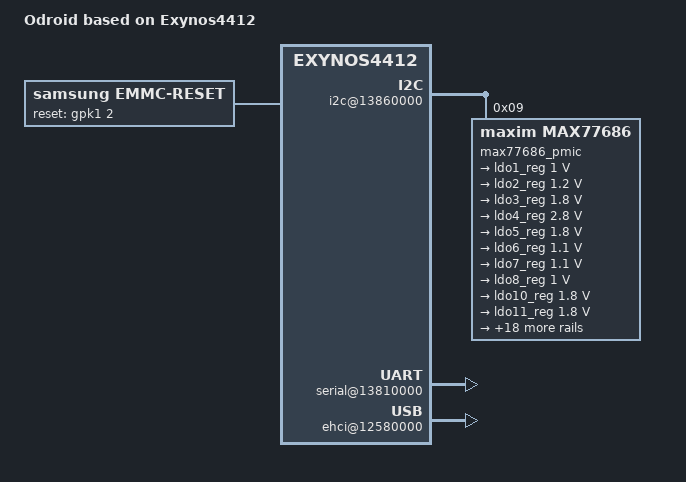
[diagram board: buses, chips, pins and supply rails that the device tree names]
/*
 * Odroid-U3/X2 board device tree source
 *
 * Copyright (c) 2014 Samsung Electronics Co., Ltd.
 *		http://www.samsung.com
 *
 * SPDX-License-Identifier:	GPL-2.0+
 */

/dts-v1/;
#include "exynos4412.dtsi"

/ {
	model = "Odroid based on Exynos4412";
	compatible = "samsung,odroid", "samsung,exynos4412";

	aliases {
		i2c0 = "/i2c@13860000";
		i2c1 = "/i2c@13870000";
		i2c2 = "/i2c@13880000";
		i2c3 = "/i2c@13890000";
		i2c4 = "/i2c@138a0000";
		i2c5 = "/i2c@138b0000";
		i2c6 = "/i2c@138c0000";
		i2c7 = "/i2c@138d0000";
		serial0 = "/serial@13800000";
		console = "/serial@13810000";
		mmc2 = "sdhci@12530000";
		mmc4 = "dwmmc@12550000";
	};

	i2c@13860000 {
		samsung,i2c-sda-delay = <100>;
		samsung,i2c-slave-addr = <0x10>;
		samsung,i2c-max-bus-freq = <100000>;
		status = "okay";

		max77686_pmic@09 {
			compatible = "maxim,max77686";
			interrupts = <7 0>;
			reg = <0x09 0 0>;
			#clock-cells = <1>;

			voltage-regulators {
				ldo1_reg: ldo1 {
					regulator-name = "VDD_ALIVE_1.0V";
					regulator-min-microvolt = <1000000>;
					regulator-max-microvolt = <1000000>;
				};

				ldo2_reg: ldo2 {
					regulator-name = "VDDQ_VM1M2_1.2V";
					regulator-min-microvolt = <1200000>;
					regulator-max-microvolt = <1200000>;
				};

				ldo3_reg: ldo3 {
					regulator-name = "VCC_1.8V_AP";
					regulator-min-microvolt = <1800000>;
					regulator-max-microvolt = <1800000>;
				};

				ldo4_reg: ldo4 {
					regulator-name = "VDDQ_MMC2_2.8V";
					regulator-min-microvolt = <2800000>;
					regulator-max-microvolt = <2800000>;
				};

				ldo5_reg: ldo5 {
					regulator-name = "VDDQ_MMC0/1/3_1.8V";
					regulator-min-microvolt = <1800000>;
					regulator-max-microvolt = <1800000>;
				};

				ldo6_reg: ldo6 {
					regulator-name = "VMPLL_1.0V";
					regulator-min-microvolt = <1100000>;
					regulator-max-microvolt = <1100000>;
				};

				ldo7_reg: ldo7 {
					regulator-name = "VPLL_1.1V";
					regulator-min-microvolt = <1100000>;
					regulator-max-microvolt = <1100000>;
				};

				ldo8_reg: ldo8 {
					regulator-name = "VDD_MIPI/HDMI_1.0V";
					regulator-min-microvolt = <1000000>;
					regulator-max-microvolt = <1000000>;
				};

				ldo10_reg: ldo10 {
					regulator-name = "VDD_MIPI/HDMI_1.8V";
					regulator-min-microvolt = <1800000>;
					regulator-max-microvolt = <1800000>;
				};

				ldo11_reg: ldo11 {
					regulator-name = "VDD_ABB1_1.8V";
					regulator-min-microvolt = <1800000>;
					regulator-max-microvolt = <1800000>;
				};

				ldo12_reg: ldo12 {
					regulator-name = "VDD_UOTG_3.0V";
					regulator-min-microvolt = <3000000>;
					regulator-max-microvolt = <3000000>;
				};

				ldo13_reg: ldo13 {
					regulator-name = "VDD_C2C_1.8V";
					regulator-min-microvolt = <1800000>;
					regulator-max-microvolt = <1800000>;
				};

				ldo14_reg: ldo14 {
					regulator-name = "VDD_ABB02_1.8V";
					regulator-min-microvolt = <1800000>;
					regulator-max-microvolt = <1800000>;
				};

				ldo15_reg: ldo15 {
					regulator-name = "VDD_HSIC/OTG_1.0V";
					regulator-min-microvolt = <1000000>;
					regulator-max-microvolt = <1000000>;
				};

				ldo16_reg: ldo16 {
					regulator-name = "VDD_HSIC_1.8V";
					regulator-min-microvolt = <1800000>;
					regulator-max-microvolt = <1800000>;
				};

				ldo17_reg: ldo17 {
					regulator-name = "VDDQ_CAM_1.2V";
					regulator-min-microvolt = <1200000>;
					regulator-max-microvolt = <1200000>;
				};

				ldo20_reg: ldo20 {
					regulator-name = "VDDQ_EMMC_1.8V";
					regulator-min-microvolt = <1800000>;
					regulator-max-microvolt = <1800000>;
					regulator-always-on;
					regulator-boot-on;
				};

				ldo21_reg: ldo21 {
					regulator-name = "TFLASH_2.8V";
					regulator-min-microvolt = <2800000>;
					regulator-max-microvolt = <2800000>;
					regulator-always-on;
					regulator-boot-on;
				};

				ldo22_reg: ldo22 {
					regulator-name = "VDDQ_EMMC_2.8V";
					regulator-min-microvolt = <2800000>;
					regulator-max-microvolt = <2800000>;
					regulator-always-on;
					regulator-boot-on;
				};

				ldo25_reg: ldo25 {
					regulator-compatible = "LDO25";
					regulator-name = "VDDQ_LCD_3.0V";
					regulator-min-microvolt = <3000000>;
					regulator-max-microvolt = <3000000>;
				};

				buck1_reg: buck1 {
					regulator-name = "VDD_MIF_1.0V";
					regulator-min-microvolt = <8500000>;
					regulator-max-microvolt = <1100000>;
				};

				buck2_reg: buck2 {
					regulator-name = "VDD_ARM_1.0V";
					regulator-min-microvolt = <850000>;
					regulator-max-microvolt = <1500000>;
				};

				buck3_reg: buck3 {
					regulator-name = "VDD_INT_1.1V";
					regulator-min-microvolt = <850000>;
					regulator-max-microvolt = <1150000>;
				};

				buck4_reg: buck4 {
					regulator-name = "VDD_G3D_1.0V";
					regulator-min-microvolt = <850000>;
					regulator-max-microvolt = <1150000>;
				};

				buck5_reg: buck5 {
					regulator-name = "VDDQ_AP_1.2V";
					regulator-min-microvolt = <1200000>;
					regulator-max-microvolt = <1200000>;
				};

				buck6_reg: buck6 {
					regulator-name = "VCC_INL1/7_1.35V";
					regulator-min-microvolt = <1350000>;
					regulator-max-microvolt = <1350000>;
				};

				buck7_reg: buck7 {
					regulator-name = "VCC_INL2/3/5_2.0V";
					regulator-min-microvolt = <2000000>;
					regulator-max-microvolt = <2000000>;
				};

				buck8_reg: buck8 {
					regulator-name = "VCC_P3V3_2.85V";
					regulator-min-microvolt = <2850000>;
					regulator-max-microvolt = <3300000>;
				};
			};
		};
	};

	serial@13810000 {
		status = "okay";
	};

	sdhci@12510000 {
		status = "disabled";
	};

	sdhci@12520000 {
		status = "disabled";
	};

	sdhci@12530000 {
		samsung,bus-width = <4>;
		samsung,timing = <1 2 3>;
		cd-gpios = <&gpk2 2 0>;
	};

	sdhci@12540000 {
		status = "disabled";
	};

	dwmmc@12550000 {
		samsung,bus-width = <8>;
		samsung,timing = <2 1 0>;
		samsung,removable = <0>;
		fifoth_val = <0x203f0040>;
		bus_hz = <400000000>;
		div = <0x3>;
		index = <4>;
	};

	ehci@12580000 {
		compatible = "samsung,exynos-ehci";
		reg = <0x12580000 0x100>;
		#address-cells = <1>;
		#size-cells = <1>;
		phy {
			compatible = "samsung,exynos-usb-phy";
			reg = <0x125B0000 0x100>;
		};
	};

	emmc-reset {
		compatible = "samsung,emmc-reset";
		reset-gpio = <&gpk1 2 0>;
	};
};
